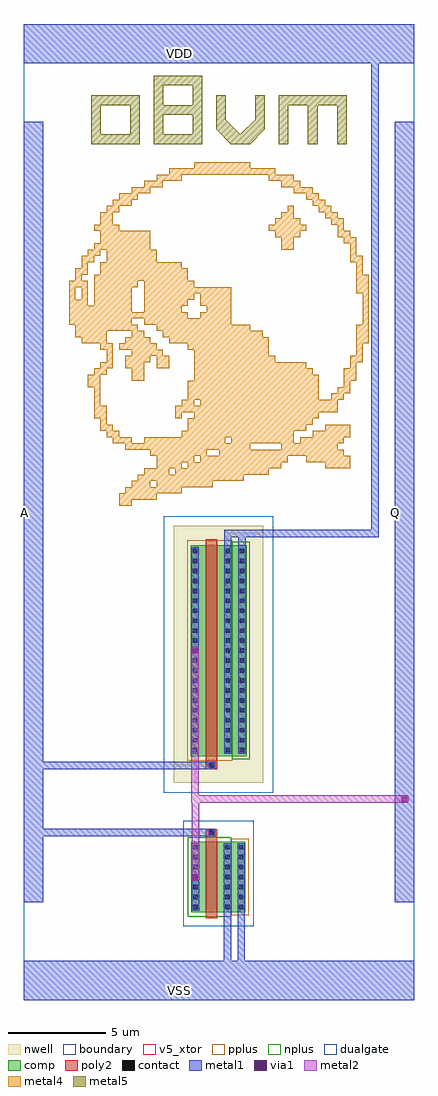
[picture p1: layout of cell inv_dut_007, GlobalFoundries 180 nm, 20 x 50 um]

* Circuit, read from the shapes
.subckt inv_dut_007 A Q VDD VSS
XM1 VSS A Q VSS nfet_05v0 w=3.6u l=0.6u
XM2 VDD A Q VDD pfet_05v0 w=10.8u l=0.6u
.ends

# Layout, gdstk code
import gdstk
lib = gdstk.Library(unit=1e-6, precision=1e-09)
def R(c, l, rs):  # rectangles x0, y0, x1, y1
    for r in rs: c.add(gdstk.rectangle(r[:2], r[2:], *l))
def A(c, l, x, y, w, h, nx, ny, dx, dy):  # array of equal rectangles
    R(c, l, [(x+i*dx, y+j*dy, x+i*dx+w, y+j*dy+h) for i in range(nx) for j in range(ny)])
def P(c, l, *ps):  # polygons
    for p in ps: c.add(gdstk.Polygon(p, *l))
boundary = (0, 0)
nwell = (21, 0)
comp = (22, 0)
poly2 = (30, 0)
pplus = (31, 0)
nplus = (32, 0)
contact = (33, 0)
metal1 = (34, 0)
via1 = (35, 0)
metal2 = (36, 0)
metal4 = (46, 0)
dualgate = (55, 0)
metal5 = (81, 0)
v5_xtor = (112, 1)

inv_dut_007 = lib.new_cell('inv_dut_007')
R(inv_dut_007, boundary, [(-10,-25,10,25)])
R(inv_dut_007, nwell, [(-2.32,-13.87,2.27,-0.71)])
R(inv_dut_007, comp, [(-1.42,-20.5,1.35,-16.9), (-1.46,-12.5,1.41,-1.7)])
R(inv_dut_007, poly2, [(-0.69,-20.8,-0.09,-16.24), (-0.69,-13.18,-0.09,-1.4)])
R(inv_dut_007, pplus, [(0.64,-20.67,1.52,-16.73), (-1.63,-12.74,0.68,-1.46)])
R(inv_dut_007, nplus, [(-1.59,-20.74,0.64,-16.66), (0.68,-12.67,1.58,-1.53)])
A(inv_dut_007, contact, -1.32, -20.34, 0.22, 0.22, 1, 7, 0, 0.51)
A(inv_dut_007, contact, 0.32, -20.34, 0.22, 0.22, 1, 7, 0, 0.51)
A(inv_dut_007, contact, 1.03, -20.34, 0.22, 0.22, 1, 7, 0, 0.51)
A(inv_dut_007, contact, -1.34, -12.31, 0.22, 0.22, 1, 21, 0, 0.51)
A(inv_dut_007, contact, 0.34, -12.31, 0.22, 0.22, 1, 21, 0, 0.51)
A(inv_dut_007, contact, 1.07, -12.31, 0.22, 0.22, 1, 21, 0, 0.51)
R(inv_dut_007, contact, [(-0.5,-16.53,-0.28,-16.31), (-0.5,-13.1,-0.28,-12.88)])
R(inv_dut_007, metal1, [(-1.4,-20.42,-1.02,-16.98), (9,-20,10,20), (-1.42,-12.39,-1.04,-1.81)])
P(inv_dut_007, metal1, [(-10,-25),(-10,-23),(0.24,-23),(0.24,-16.98),(0.62,-16.98),(0.62,-23),(0.95,-23),(0.95,-16.98),(1.33,-16.98),(1.33,-23),(10,-23),(10,-25)],
  [(-10,-20),(-10,20),(-9,20),(-9,-12.8),(-0.2,-12.8),(-0.2,-13.18),(-9,-13.18),(-9,-16.23),(-0.2,-16.23),(-0.2,-16.61),(-9,-16.61),(-9,-20)],
  [(0.26,-12.39),(0.26,-0.92),(7.81,-0.92),(7.81,23),(-10,23),(-10,25),(10,25),(10,23),(8.19,23),(8.19,-1.3),(1.37,-1.3),(1.37,-12.39),(0.99,-12.39),(0.99,-1.3),(0.64,-1.3),(0.64,-12.39)])
R(inv_dut_007, via1, [(-1.34,-18.83,-1.08,-18.57), (9.37,-14.835,9.63,-14.575), (-1.36,-7.23,-1.1,-6.97)])
R(inv_dut_007, metal2, [(-1.4,-18.89,-1.02,-18.51), (-1.4,-18.89,-1.02,-14.515), (-1.42,-14.895,-1.04,-6.91), (-1.42,-14.895,9.69,-14.515), (9.31,-14.895,9.69,-14.515), (-1.42,-7.29,-1.04,-6.91)])
P(inv_dut_007, metal4, [(3.2,13.44),(3.2,14.08),(2.88,14.08),(2.88,14.4),(2.56,14.4),(2.56,14.72),(2.88,14.72),(2.88,15.04),(3.2,15.04),(3.2,15.36),(3.52,15.36),(3.52,15.68),(3.84,15.68),(3.84,15.04),(4.16,15.04),(4.16,14.72),(4.48,14.72),(4.48,14.4),(4.16,14.4),(4.16,14.08),(3.84,14.08),(3.84,13.44)],
  [(-5.12,0.32),(-5.12,0.96),(-4.8,0.96),(-4.8,1.28),(-4.48,1.28),(-4.48,1.6),(-3.52,1.6),(-3.52,1.28),(-3.2,1.28),(-3.2,1.6),(-4.16,1.6),(-4.16,1.92),(-3.84,1.92),(-3.84,2.24),(-2.56,2.24),(-2.56,1.92),(-2.24,1.92),(-2.24,2.24),(-3.2,2.24),(-3.2,2.56),(-1.92,2.56),(-1.92,2.24),(-1.6,2.24),(-1.6,2.56),(-3.2,2.56),(-3.2,2.88),(-1.28,2.88),(-1.28,2.56),(-0.96,2.56),(-0.96,2.88),(-3.52,2.88),(-3.52,3.2),(-0.64,3.2),(-0.64,2.88),(0,2.88),(0,3.2),(-4.8,3.2),(-4.8,3.52),(-5.44,3.52),(-5.44,3.84),(-5.76,3.84),(-5.76,4.16),(-6.08,4.16),(-6.08,4.8),(-6.4,4.8),(-6.4,6.4),(-6.72,6.4),(-6.72,7.04),(-6.4,7.04),(-6.4,7.36),(-6.08,7.36),(-6.08,7.68),(-5.76,7.68),(-5.76,8.32),(-6.08,8.32),(-6.08,8.64),(-7.04,8.64),(-7.04,8.96),(-7.36,8.96),(-7.36,9.6),(-7.68,9.6),(-7.68,9.92),(-4.48,9.92),(-4.48,9.6),(-4.16,9.6),(-4.16,9.28),(-3.84,9.28),(-3.84,8.96),(-3.52,8.96),(-3.52,8.64),(-3.2,8.64),(-3.2,8.32),(-2.88,8.32),(-2.88,8),(-2.56,8),(-2.56,7.36),(-3.2,7.36),(-3.2,8),(-3.52,8),(-3.52,7.68),(-3.84,7.68),(-3.84,6.72),(-4.48,6.72),(-4.48,7.36),(-4.8,7.36),(-4.8,8),(-4.48,8),(-4.48,8.32),(-5.12,8.32),(-5.12,8.64),(-4.8,8.64),(-4.8,8.96),(-4.48,8.96),(-4.48,9.28),(-5.76,9.28),(-5.76,8.64),(-5.44,8.64),(-5.44,7.36),(-5.76,7.36),(-5.76,7.04),(-6.08,7.04),(-6.08,5.44),(-5.76,5.44),(-5.76,4.48),(-5.44,4.48),(-5.44,4.16),(-5.12,4.16),(-5.12,3.84),(-4.48,3.84),(-4.48,3.52),(-3.84,3.52),(-3.84,3.84),(0.32,3.84),(0.32,3.52),(1.6,3.52),(1.6,3.2),(3.2,3.2),(3.2,3.52),(0.64,3.52),(0.64,3.84),(-1.92,3.84),(-1.92,4.16),(-1.6,4.16),(-1.6,4.8),(-1.28,4.8),(-1.28,5.12),(-1.92,5.12),(-1.92,4.8),(-2.24,4.8),(-2.24,5.44),(-1.92,5.44),(-1.92,5.76),(-1.28,5.76),(-1.28,5.44),(-0.96,5.44),(-0.96,5.76),(-1.6,5.76),(-1.6,6.72),(-1.28,6.72),(-1.28,8.32),(-1.6,8.32),(-1.6,8.64),(-2.56,8.64),(-2.56,8.96),(-2.88,8.96),(-2.88,9.28),(-3.2,9.28),(-3.2,9.6),(-3.84,9.6),(-3.84,9.92),(-7.68,9.92),(-7.68,11.52),(-7.36,11.52),(-7.36,10.88),(-7.04,10.88),(-7.04,11.52),(-7.68,11.52),(-7.68,11.84),(-7.36,11.84),(-7.36,12.48),(-7.04,12.48),(-7.04,13.12),(-6.72,13.12),(-6.72,13.44),(-6.08,13.44),(-6.08,13.12),(-6.4,13.12),(-6.4,12.8),(-6.72,12.8),(-6.72,12.16),(-7.04,12.16),(-7.04,11.84),(-6.72,11.84),(-6.72,10.56),(-6.4,10.56),(-6.4,11.84),(-4.16,11.84),(-4.16,11.52),(-4.48,11.52),(-4.48,10.24),(-3.84,10.24),(-3.84,11.2),(-1.28,11.2),(-1.28,10.88),(-1.6,10.88),(-1.6,10.56),(-1.92,10.56),(-1.92,10.24),(-1.6,10.24),(-1.6,9.92),(-0.96,9.92),(-0.96,10.24),(-0.64,10.24),(-0.64,10.56),(-0.96,10.56),(-0.96,11.2),(-3.84,11.2),(-3.84,11.84),(-6.4,11.84),(-6.4,12.16),(-6.08,12.16),(-6.08,12.8),(-5.76,12.8),(-5.76,13.44),(-6.4,13.44),(-6.4,13.76),(-6.08,13.76),(-6.08,14.4),(-6.4,14.4),(-6.4,14.72),(-6.08,14.72),(-6.08,15.36),(-5.76,15.36),(-5.76,15.68),(-5.44,15.68),(-5.44,16),(-5.12,16),(-5.12,16.32),(-4.48,16.32),(-4.48,16.64),(-3.84,16.64),(-3.84,16.96),(-3.2,16.96),(-3.2,17.28),(-1.92,17.28),(-1.92,16.96),(-2.88,16.96),(-2.88,16.64),(-3.52,16.64),(-3.52,16.32),(-4.16,16.32),(-4.16,16),(-4.48,16),(-4.48,15.68),(-5.12,15.68),(-5.12,15.36),(-5.44,15.36),(-5.44,14.72),(-5.12,14.72),(-5.12,14.4),(-3.52,14.4),(-3.52,13.44),(-3.2,13.44),(-3.2,12.8),(-1.92,12.8),(-1.92,12.48),(-1.6,12.48),(-1.6,11.84),(-1.28,11.84),(-1.28,11.52),(0.64,11.52),(0.64,9.6),(1.6,9.6),(1.6,9.28),(2.24,9.28),(2.24,8.96),(2.56,8.96),(2.56,8),(2.88,8),(2.88,7.68),(4.48,7.68),(4.48,7.36),(4.8,7.36),(4.8,7.04),(5.12,7.04),(5.12,5.76),(5.76,5.76),(5.76,6.08),(6.08,6.08),(6.08,6.4),(6.4,6.4),(6.4,7.36),(6.72,7.36),(6.72,8),(7.04,8),(7.04,9.6),(7.36,9.6),(7.36,11.2),(7.04,11.2),(7.04,12.8),(6.72,12.8),(6.72,13.76),(6.4,13.76),(6.4,14.08),(6.08,14.08),(6.08,14.72),(5.76,14.72),(5.76,15.04),(5.44,15.04),(5.44,15.36),(5.12,15.36),(5.12,15.68),(4.8,15.68),(4.8,16),(4.48,16),(4.48,16.32),(3.84,16.32),(3.84,16.64),(3.2,16.64),(3.2,16.96),(2.56,16.96),(2.56,17.28),(-2.56,17.28),(-2.56,17.6),(-1.28,17.6),(-1.28,17.92),(1.6,17.92),(1.6,17.6),(2.88,17.6),(2.88,17.28),(3.84,17.28),(3.84,16.96),(4.16,16.96),(4.16,16.64),(4.8,16.64),(4.8,16.32),(5.12,16.32),(5.12,16),(5.44,16),(5.44,15.68),(5.76,15.68),(5.76,15.36),(6.08,15.36),(6.08,15.04),(6.4,15.04),(6.4,14.4),(6.72,14.4),(6.72,14.08),(7.04,14.08),(7.04,13.12),(7.36,13.12),(7.36,12.16),(7.68,12.16),(7.68,8.64),(7.36,8.64),(7.36,7.68),(7.04,7.68),(7.04,6.72),(6.72,6.72),(6.72,6.08),(6.4,6.08),(6.4,5.76),(6.08,5.76),(6.08,5.12),(5.12,5.12),(5.12,4.8),(4.8,4.8),(4.8,4.48),(4.48,4.48),(4.48,4.16),(3.84,4.16),(3.84,3.52),(4.16,3.52),(4.16,3.84),(4.8,3.84),(4.8,4.16),(5.44,4.16),(5.44,4.48),(6.72,4.48),(6.72,3.84),(6.4,3.84),(6.4,3.52),(6.08,3.52),(6.08,3.2),(6.4,3.2),(6.4,2.88),(6.72,2.88),(6.72,2.24),(5.44,2.24),(5.44,2.56),(4.48,2.56),(4.48,2.88),(3.52,2.88),(3.52,2.56),(3.2,2.56),(3.2,2.24),(2.56,2.24),(2.56,1.92),(1.28,1.92),(1.28,1.6),(-0.32,1.6),(-0.32,1.28),(-1.92,1.28),(-1.92,0.96),(-3.2,0.96),(-3.2,0.64),(-4.48,0.64),(-4.48,0.32)])
R(inv_dut_007, dualgate, [(-1.84,-21.21,1.77,-15.82), (-2.82,-14.37,2.77,-0.21)])
P(inv_dut_007, metal5, [(-6.55,18.85),(-6.55,20.85),(-6.05,20.85),(-6.05,19.35),(-4.55,19.35),(-4.55,20.85),(-6.55,20.85),(-6.55,21.35),(-4.05,21.35),(-4.05,18.85)],
  [(0.6,18.85),(-0.15,19.6),(-0.15,21.35),(0.35,21.35),(0.35,20.1),(1.1,19.35),(1.85,20.1),(1.85,21.35),(2.35,21.35),(2.35,19.6),(1.6,18.85)],
  [(3.05,18.85),(3.05,21.35),(6.55,21.35),(6.55,18.85),(6.05,18.85),(6.05,20.85),(5.05,20.85),(5.05,18.85),(4.55,18.85),(4.55,20.85),(3.55,20.85),(3.55,18.85)],
  [(-3.35,18.85),(-3.35,20.35),(-2.85,20.35),(-2.85,19.35),(-1.35,19.35),(-1.35,20.35),(-3.35,20.35),(-3.35,21.85),(-2.85,21.85),(-2.85,20.85),(-1.35,20.85),(-1.35,21.85),(-3.35,21.85),(-3.35,22.35),(-0.85,22.35),(-0.85,18.85)])
R(inv_dut_007, v5_xtor, [(-1.84,-21.21,1.77,-15.82), (-2.82,-14.37,2.77,-0.21)])
inv_dut_007.add(gdstk.Label('VDD', (-2,23.5), layer=34, texttype=10))
inv_dut_007.add(gdstk.Label('VSS', (-2,-24.5), layer=34, texttype=10))
inv_dut_007.add(gdstk.Label('A', (-9.97,0), layer=34, texttype=10))
inv_dut_007.add(gdstk.Label('Q', (9.03,0), layer=34, texttype=10))

lib.write_gds('inv_dut_007.gds')
